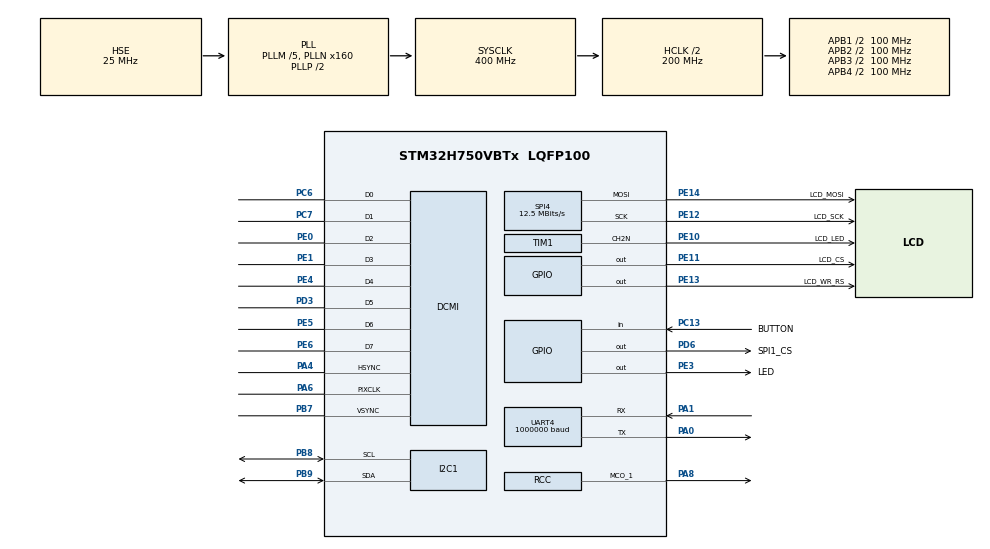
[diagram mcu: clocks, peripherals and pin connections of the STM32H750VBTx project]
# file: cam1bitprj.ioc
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CORTEX_M7.CPU_ICache=Enabled
DCMI.PCKPolarity=DCMI_PCKPOLARITY_RISING
Dma.DCMI.0.Direction=DMA_PERIPH_TO_MEMORY
Dma.DCMI.0.EventEnable=DISABLE
Dma.DCMI.0.FIFOMode=DMA_FIFOMODE_DISABLE
Dma.DCMI.0.Instance=DMA1_Stream0
Dma.DCMI.0.MemDataAlignment=DMA_MDATAALIGN_WORD
Dma.DCMI.0.MemInc=DMA_MINC_ENABLE
Dma.DCMI.0.Mode=DMA_CIRCULAR
Dma.DCMI.0.PeriphDataAlignment=DMA_PDATAALIGN_WORD
Dma.DCMI.0.PeriphInc=DMA_PINC_DISABLE
Dma.DCMI.0.Polarity=HAL_DMAMUX_REQ_GEN_RISING
Dma.DCMI.0.Priority=DMA_PRIORITY_MEDIUM
Dma.DCMI.0.RequestNumber=1
Dma.DCMI.0.SignalID=NONE
Dma.DCMI.0.SyncEnable=DISABLE
Dma.DCMI.0.SyncPolarity=HAL_DMAMUX_SYNC_NO_EVENT
Dma.DCMI.0.SyncRequestNumber=1
Dma.DCMI.0.SyncSignalID=NONE
Dma.Request0=DCMI
Dma.Request1=UART4_TX
Dma.UART4_TX.1.Direction=DMA_MEMORY_TO_PERIPH
Dma.UART4_TX.1.EventEnable=DISABLE
Dma.UART4_TX.1.FIFOMode=DMA_FIFOMODE_ENABLE
Dma.UART4_TX.1.FIFOThreshold=DMA_FIFO_THRESHOLD_FULL
Dma.UART4_TX.1.Instance=DMA1_Stream1
Dma.UART4_TX.1.MemBurst=DMA_MBURST_INC16
Dma.UART4_TX.1.MemDataAlignment=DMA_MDATAALIGN_BYTE
Dma.UART4_TX.1.MemInc=DMA_MINC_ENABLE
Dma.UART4_TX.1.Mode=DMA_NORMAL
Dma.UART4_TX.1.PeriphBurst=DMA_PBURST_SINGLE
Dma.UART4_TX.1.PeriphDataAlignment=DMA_PDATAALIGN_BYTE
Dma.UART4_TX.1.PeriphInc=DMA_PINC_DISABLE
Dma.UART4_TX.1.Polarity=HAL_DMAMUX_REQ_GEN_RISING
Dma.UART4_TX.1.Priority=DMA_PRIORITY_LOW
Dma.UART4_TX.1.RequestNumber=1
Dma.UART4_TX.1.SignalID=NONE
Dma.UART4_TX.1.SyncEnable=DISABLE
Dma.UART4_TX.1.SyncPolarity=HAL_DMAMUX_SYNC_NO_EVENT
Dma.UART4_TX.1.SyncRequestNumber=1
Dma.UART4_TX.1.SyncSignalID=NONE
I2C1.Timing=0x10C0ECFF
Mcu.Family=STM32H7
Mcu.Name=STM32H750VBTx
Mcu.Package=LQFP100
NVIC.DCMI_IRQn=true\:0\:0\:false\:false\:true\:true\:true\:true
NVIC.DMA1_Stream0_IRQn=true\:0\:0\:false\:false\:true\:false\:true\:true
NVIC.DMA1_Stream1_IRQn=true\:0\:0\:false\:false\:true\:false\:true\:true
NVIC.PriorityGroup=NVIC_PRIORITYGROUP_4
NVIC.UART4_IRQn=true\:0\:0\:false\:false\:true\:true\:true\:true
PA0.Mode=Asynchronous
PA0.Signal=UART4_TX
PA1.Mode=Asynchronous
PA1.Signal=UART4_RX
PA11.Signal=USB_OTG_FS_DM
PA12.Signal=USB_OTG_FS_DP
PA13\ (JTMS/SWDIO).Mode=Serial_Wire
PA13\ (JTMS/SWDIO).Signal=DEBUG_JTMS-SWDIO
PA14\ (JTCK/SWCLK).Mode=Serial_Wire
PA14\ (JTCK/SWCLK).Signal=DEBUG_JTCK-SWCLK
PA4.Mode=Slave_8_bits_External_Synchro
PA4.Signal=DCMI_HSYNC
PA6.Mode=Slave_8_bits_External_Synchro
PA6.Signal=DCMI_PIXCLK
PA8.Mode=Clock-out-1
PA8.Signal=RCC_MCO_1
PB2.Signal=QUADSPI_CLK
PB3\ (JTDO/TRACESWO).Signal=SPI1_SCK
PB4\ (NJTRST).Signal=SPI1_MISO
PB6.Signal=QUADSPI_BK1_NCS
PB7.Mode=Slave_8_bits_External_Synchro
PB7.Signal=DCMI_VSYNC
PB8.Mode=I2C
PB8.Signal=I2C1_SCL
PB9.Mode=I2C
PB9.Signal=I2C1_SDA
PC10.Signal=SDMMC1_D2
PC11.Signal=SDMMC1_D3
PC12.Signal=SDMMC1_CK
PC13.GPIO_Label=BUTTON
PC13.Signal=GPIO_Input
PC14-OSC32_IN\ (OSC32_IN).Mode=LSE-External-Oscillator
PC14-OSC32_IN\ (OSC32_IN).Signal=RCC_OSC32_IN
PC15-OSC32_OUT\ (OSC32_OUT).Mode=LSE-External-Oscillator
PC15-OSC32_OUT\ (OSC32_OUT).Signal=RCC_OSC32_OUT
PC6.Mode=Slave_8_bits_External_Synchro
PC6.Signal=DCMI_D0
PC7.Mode=Slave_8_bits_External_Synchro
PC7.Signal=DCMI_D1
PC8.Signal=SDMMC1_D0
PC9.Signal=SDMMC1_D1
PD11.Signal=QUADSPI_BK1_IO0
PD12.Signal=QUADSPI_BK1_IO1
PD13.Signal=QUADSPI_BK1_IO3
PD2.Signal=SDMMC1_CMD
PD3.Mode=Slave_8_bits_External_Synchro
PD3.Signal=DCMI_D5
PD6.GPIO_Label=SPI1_CS
PD6.Signal=GPIO_Output
PD7.Signal=SPI1_MOSI
PE0.Mode=Slave_8_bits_External_Synchro
PE0.Signal=DCMI_D2
PE1.Mode=Slave_8_bits_External_Synchro
PE1.Signal=DCMI_D3
PE10.GPIO_Label=LCD_LED
PE10.Mode=PWM Generation2 CH2N
PE10.Signal=TIM1_CH2N
PE11.GPIO_Label=LCD_CS
PE11.Signal=GPIO_Output
PE12.GPIO_Label=LCD_SCK
PE12.Mode=TX_Only_Simplex_Unidirect_Master
PE12.Signal=SPI4_SCK
PE13.GPIO_Label=LCD_WR_RS
PE13.Signal=GPIO_Output
PE14.GPIO_Label=LCD_MOSI
PE14.Mode=TX_Only_Simplex_Unidirect_Master
PE14.Signal=SPI4_MOSI
PE2.Signal=QUADSPI_BK1_IO2
PE3.GPIO_Label=LED
PE3.Signal=GPIO_Output
PE4.Mode=Slave_8_bits_External_Synchro
PE4.Signal=DCMI_D4
PE5.Mode=Slave_8_bits_External_Synchro
PE5.Signal=DCMI_D6
PE6.Mode=Slave_8_bits_External_Synchro
PE6.Signal=DCMI_D7
PH0-OSC_IN\ (PH0).Mode=HSE-External-Oscillator
PH0-OSC_IN\ (PH0).Signal=RCC_OSC_IN
PH1-OSC_OUT\ (PH1).Mode=HSE-External-Oscillator
PH1-OSC_OUT\ (PH1).Signal=RCC_OSC_OUT
ProjectManager.HeapSize=0x200
ProjectManager.StackSize=0x400
ProjectManager.TargetToolchain=STM32CubeIDE
RCC.ADCFreq_Value=50390625
RCC.APB1Freq_Value=100000000
RCC.APB2Freq_Value=100000000
RCC.APB3Freq_Value=100000000
RCC.APB4Freq_Value=100000000
RCC.CortexFreq_Value=400000000
RCC.D1PPRE=RCC_APB3_DIV2
RCC.D2PPRE1=RCC_APB1_DIV2
RCC.D2PPRE2=RCC_APB2_DIV2
RCC.D3PPRE=RCC_APB4_DIV2
RCC.DIVM1=5
RCC.DIVN1=160
RCC.DIVQ1=4
RCC.DIVR1=12
RCC.HCLKFreq_Value=200000000
RCC.HPRE=RCC_HCLK_DIV2
RCC.HSE_Timout=200
RCC.PLL2FRACN=0
RCC.PLL3FRACN=0
RCC.PLLFRACN=0
RCC.PLLSourceVirtual=RCC_PLLSOURCE_HSE
RCC.ProductRev=revV
RCC.RCC_MCO1Source=RCC_MCO1SOURCE_HSI48
RCC.RCC_MCODiv1=RCC_MCODIV_4
RCC.SYSCLKFreq_VALUE=400000000
RCC.SYSCLKSource=RCC_SYSCLKSOURCE_PLLCLK
RCC.SupplySource=PWR_EXTERNAL_SOURCE_SUPPLY
RCC.USBFreq_Value=200000000
SPI4.BaudRatePrescaler=SPI_BAUDRATEPRESCALER_8
SPI4.CalculateBaudRate=12.5 MBits/s
SPI4.DataSize=SPI_DATASIZE_8BIT
SPI4.Direction=SPI_DIRECTION_2LINES_TXONLY
SPI4.Mode=SPI_MODE_MASTER
SPI4.VirtualType=VM_MASTER
TIM1.Channel-PWM\ Generation2\ CH2N=TIM_CHANNEL_2
TIM1.OCNIdleState_2=TIM_OCNIDLESTATE_RESET
TIM1.Prescaler=10
TIM1.Pulse-PWM\ Generation2\ CH2N=32000
UART4.BaudRate=1000000
UART4.Parity=PARITY_EVEN
UART4.WordLength=WORDLENGTH_9B
VP_TIM1_VS_ClockSourceINT.Mode=Internal
board=custom

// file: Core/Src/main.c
/* USER CODE BEGIN Header */
/**
  ******************************************************************************
  * @file           : main.c
  * @brief          : Main program body
  ******************************************************************************
  * @attention
  *
  * Copyright (c) 2024 STMicroelectronics.
  * All rights reserved.
  *
  * This software is licensed under terms that can be found in the LICENSE file
  * in the root directory of this software component.
  * If no LICENSE file comes with this software, it is provided AS-IS.
  *
  ******************************************************************************
  */
//VECT_TAB_SRAM USER_VECT_TAB_ADDRESS
/* USER CODE END Header */
#include "main.h"

/* USER CODE BEGIN Includes */
#include "camera.h"
#include "st7735.h"
/* USER CODE END Includes */

DCMI_HandleTypeDef hdcmi;
DMA_HandleTypeDef hdma_dcmi;

I2C_HandleTypeDef hi2c1;

SPI_HandleTypeDef hspi4;

TIM_HandleTypeDef htim1;

UART_HandleTypeDef huart4;
DMA_HandleTypeDef hdma_uart4_tx;

/* USER CODE BEGIN PV */
extern void LCD_Test(void);
/* USER CODE END PV */

void SystemClock_Config(void);
static void MX_GPIO_Init(void);
static void MX_DMA_Init(void);
static void MX_UART4_Init(void);
static void MX_SPI4_Init(void);
static void MX_DCMI_Init(void);
static void MX_TIM1_Init(void);
static void MX_I2C1_Init(void);

/* USER CODE BEGIN 0 */
// QQVGA
#define FrameWidth 160
#define FrameHeight 120
// picture buffer
uint16_t pic[FrameWidth][FrameHeight];
uint32_t DCMI_FrameIsReady=0;
uint32_t Camera_FPS=0;

uint32_t uart_done=1;

void HAL_UART_TxCpltCallback(UART_HandleTypeDef *huart){
	 uart_done=1;
}
void HAL_DCMI_FrameEventCallback(DCMI_HandleTypeDef *hdcmi)
{
	static uint32_t count = 0,tick = 0;

	if(HAL_GetTick() - tick >= 1000)
	{
		tick = HAL_GetTick();
		Camera_FPS = count;
		count = 0;
	}
	count ++;

  DCMI_FrameIsReady = 1;
}

extern ST7735_Ctx_t ST7735Ctx;
extern ST7735_Object_t st7735_pObj;

/* USER CODE END 0 */

int main(void)
{

  /* Enable I-Cache---------------------------------------------------------*/
  SCB_EnableICache();

  /* MCU Configuration--------------------------------------------------------*/

  /* Reset of all peripherals, Initializes the Flash interface and the Systick. */
  HAL_Init();

  /* Configure the system clock */
  SystemClock_Config();

  /* USER CODE BEGIN SysInit */
  /* pwm need timer enable(cen) channel enable(ccer) break enable(moe)*/

  /* USER CODE END SysInit */

  /* Initialize all configured peripherals */
  MX_GPIO_Init();
  MX_DMA_Init();
  MX_UART4_Init();
  MX_SPI4_Init();
  MX_DCMI_Init();
  MX_TIM1_Init();
  MX_I2C1_Init();
  /* USER CODE BEGIN 2 */
  HAL_TIMEx_PWMN_Start(&htim1, TIM_CHANNEL_2);

  /* USER CODE END 2 */

  /* Infinite loop */
  /* USER CODE BEGIN WHILE */
  uint8_t text[20];
  LCD_Test();

	Camera_Init_Device(&hi2c1, FRAMESIZE_QQVGA);
	HAL_DCMI_Start_DMA(&hdcmi, DCMI_MODE_CONTINUOUS, (uint32_t) &pic, FrameWidth * FrameHeight * 2 / 4);
	while (1) {
    /* USER CODE END WHILE */

    /* USER CODE BEGIN 3 */
		if (DCMI_FrameIsReady) {
			DCMI_FrameIsReady = 0;
			ST7735_FillRGBRect(&st7735_pObj, 0, 0, (uint8_t*) &pic[20][0], ST7735Ctx.Width, 80);
			HAL_GPIO_TogglePin(LED_GPIO_Port, LED_Pin);
			if(uart_done){
				uart_done = 0;
				HAL_UART_Transmit(&huart4, "Start ", 6, 100);
				HAL_UART_Transmit_DMA(&huart4, &pic, FrameWidth * FrameHeight * 2 / 4);
			}

			sprintf((char*) &text, "%dFPS", Camera_FPS);
			LCD_ShowString(5, 5, 60, 16, 12, text);
			//HAL_Delay(100);
		}

	}
  /* USER CODE END 3 */
}

void SystemClock_Config(void)
{
  RCC_OscInitTypeDef RCC_OscInitStruct = {0};
  RCC_ClkInitTypeDef RCC_ClkInitStruct = {0};

  /** Supply configuration update enable
  */
  HAL_PWREx_ConfigSupply(PWR_EXTERNAL_SOURCE_SUPPLY);

  /** Configure the main internal regulator output voltage
  */
  __HAL_PWR_VOLTAGESCALING_CONFIG(PWR_REGULATOR_VOLTAGE_SCALE1);

  while(!__HAL_PWR_GET_FLAG(PWR_FLAG_VOSRDY)) {}

  /** Initializes the RCC Oscillators according to the specified parameters
  * in the RCC_OscInitTypeDef structure.
  */
  RCC_OscInitStruct.OscillatorType = RCC_OSCILLATORTYPE_HSI48|RCC_OSCILLATORTYPE_HSE;
  RCC_OscInitStruct.HSEState = RCC_HSE_ON;
  RCC_OscInitStruct.HSI48State = RCC_HSI48_ON;
  RCC_OscInitStruct.PLL.PLLState = RCC_PLL_ON;
  RCC_OscInitStruct.PLL.PLLSource = RCC_PLLSOURCE_HSE;
  RCC_OscInitStruct.PLL.PLLM = 5;
  RCC_OscInitStruct.PLL.PLLN = 160;
  RCC_OscInitStruct.PLL.PLLP = 2;
  RCC_OscInitStruct.PLL.PLLQ = 4;
  RCC_OscInitStruct.PLL.PLLR = 12;
  RCC_OscInitStruct.PLL.PLLRGE = RCC_PLL1VCIRANGE_2;
  RCC_OscInitStruct.PLL.PLLVCOSEL = RCC_PLL1VCOWIDE;
  RCC_OscInitStruct.PLL.PLLFRACN = 0;
  if (HAL_RCC_OscConfig(&RCC_OscInitStruct) != HAL_OK)
  {
    Error_Handler();
  }

  /** Initializes the CPU, AHB and APB buses clocks
  */
  RCC_ClkInitStruct.ClockType = RCC_CLOCKTYPE_HCLK|RCC_CLOCKTYPE_SYSCLK
                              |RCC_CLOCKTYPE_PCLK1|RCC_CLOCKTYPE_PCLK2
                              |RCC_CLOCKTYPE_D3PCLK1|RCC_CLOCKTYPE_D1PCLK1;
  RCC_ClkInitStruct.SYSCLKSource = RCC_SYSCLKSOURCE_PLLCLK;
  RCC_ClkInitStruct.SYSCLKDivider = RCC_SYSCLK_DIV1;
  RCC_ClkInitStruct.AHBCLKDivider = RCC_HCLK_DIV2;
  RCC_ClkInitStruct.APB3CLKDivider = RCC_APB3_DIV2;
  RCC_ClkInitStruct.APB1CLKDivider = RCC_APB1_DIV2;
  RCC_ClkInitStruct.APB2CLKDivider = RCC_APB2_DIV2;
  RCC_ClkInitStruct.APB4CLKDivider = RCC_APB4_DIV2;

  if (HAL_RCC_ClockConfig(&RCC_ClkInitStruct, FLASH_LATENCY_2) != HAL_OK)
  {
    Error_Handler();
  }
  HAL_RCC_MCOConfig(RCC_MCO1, RCC_MCO1SOURCE_HSI48, RCC_MCODIV_4);
}

static void MX_DCMI_Init(void)
{

  hdcmi.Instance = DCMI;
  hdcmi.Init.SynchroMode = DCMI_SYNCHRO_HARDWARE;
  hdcmi.Init.PCKPolarity = DCMI_PCKPOLARITY_RISING;
  hdcmi.Init.VSPolarity = DCMI_VSPOLARITY_LOW;
  hdcmi.Init.HSPolarity = DCMI_HSPOLARITY_LOW;
  hdcmi.Init.CaptureRate = DCMI_CR_ALL_FRAME;
  hdcmi.Init.ExtendedDataMode = DCMI_EXTEND_DATA_8B;
  hdcmi.Init.JPEGMode = DCMI_JPEG_DISABLE;
  hdcmi.Init.ByteSelectMode = DCMI_BSM_ALL;
  hdcmi.Init.ByteSelectStart = DCMI_OEBS_ODD;
  hdcmi.Init.LineSelectMode = DCMI_LSM_ALL;
  hdcmi.Init.LineSelectStart = DCMI_OELS_ODD;
  if (HAL_DCMI_Init(&hdcmi) != HAL_OK)
  {
    Error_Handler();
  }

}

static void MX_I2C1_Init(void)
{

  hi2c1.Instance = I2C1;
  hi2c1.Init.Timing = 0x10C0ECFF;
  hi2c1.Init.OwnAddress1 = 0;
  hi2c1.Init.AddressingMode = I2C_ADDRESSINGMODE_7BIT;
  hi2c1.Init.DualAddressMode = I2C_DUALADDRESS_DISABLE;
  hi2c1.Init.OwnAddress2 = 0;
  hi2c1.Init.OwnAddress2Masks = I2C_OA2_NOMASK;
  hi2c1.Init.GeneralCallMode = I2C_GENERALCALL_DISABLE;
  hi2c1.Init.NoStretchMode = I2C_NOSTRETCH_DISABLE;
  if (HAL_I2C_Init(&hi2c1) != HAL_OK)
  {
    Error_Handler();
  }

  /** Configure Analogue filter
  */
  if (HAL_I2CEx_ConfigAnalogFilter(&hi2c1, I2C_ANALOGFILTER_ENABLE) != HAL_OK)
  {
    Error_Handler();
  }

  /** Configure Digital filter
  */
  if (HAL_I2CEx_ConfigDigitalFilter(&hi2c1, 0) != HAL_OK)
  {
    Error_Handler();
  }

}

static void MX_SPI4_Init(void)
{

  /* SPI4 parameter configuration*/
  hspi4.Instance = SPI4;
  hspi4.Init.Mode = SPI_MODE_MASTER;
  hspi4.Init.Direction = SPI_DIRECTION_2LINES_TXONLY;
  hspi4.Init.DataSize = SPI_DATASIZE_8BIT;
  hspi4.Init.CLKPolarity = SPI_POLARITY_LOW;
  hspi4.Init.CLKPhase = SPI_PHASE_1EDGE;
  hspi4.Init.NSS = SPI_NSS_SOFT;
  hspi4.Init.BaudRatePrescaler = SPI_BAUDRATEPRESCALER_8;
  hspi4.Init.FirstBit = SPI_FIRSTBIT_MSB;
  hspi4.Init.TIMode = SPI_TIMODE_DISABLE;
  hspi4.Init.CRCCalculation = SPI_CRCCALCULATION_DISABLE;
  hspi4.Init.CRCPolynomial = 0x0;
  hspi4.Init.NSSPMode = SPI_NSS_PULSE_ENABLE;
  hspi4.Init.NSSPolarity = SPI_NSS_POLARITY_LOW;
  hspi4.Init.FifoThreshold = SPI_FIFO_THRESHOLD_01DATA;
  hspi4.Init.TxCRCInitializationPattern = SPI_CRC_INITIALIZATION_ALL_ZERO_PATTERN;
  hspi4.Init.RxCRCInitializationPattern = SPI_CRC_INITIALIZATION_ALL_ZERO_PATTERN;
  hspi4.Init.MasterSSIdleness = SPI_MASTER_SS_IDLENESS_00CYCLE;
  hspi4.Init.MasterInterDataIdleness = SPI_MASTER_INTERDATA_IDLENESS_00CYCLE;
  hspi4.Init.MasterReceiverAutoSusp = SPI_MASTER_RX_AUTOSUSP_DISABLE;
  hspi4.Init.MasterKeepIOState = SPI_MASTER_KEEP_IO_STATE_DISABLE;
  hspi4.Init.IOSwap = SPI_IO_SWAP_DISABLE;
  if (HAL_SPI_Init(&hspi4) != HAL_OK)
  {
    Error_Handler();
  }

}

static void MX_TIM1_Init(void)
{

  TIM_ClockConfigTypeDef sClockSourceConfig = {0};
  TIM_MasterConfigTypeDef sMasterConfig = {0};
  TIM_OC_InitTypeDef sConfigOC = {0};
  TIM_BreakDeadTimeConfigTypeDef sBreakDeadTimeConfig = {0};

  htim1.Instance = TIM1;
  htim1.Init.Prescaler = 10;
  htim1.Init.CounterMode = TIM_COUNTERMODE_UP;
  htim1.Init.Period = 65535;
  htim1.Init.ClockDivision = TIM_CLOCKDIVISION_DIV1;
  htim1.Init.RepetitionCounter = 0;
  htim1.Init.AutoReloadPreload = TIM_AUTORELOAD_PRELOAD_DISABLE;
  if (HAL_TIM_Base_Init(&htim1) != HAL_OK)
  {
    Error_Handler();
  }
  sClockSourceConfig.ClockSource = TIM_CLOCKSOURCE_INTERNAL;
  if (HAL_TIM_ConfigClockSource(&htim1, &sClockSourceConfig) != HAL_OK)
  {
    Error_Handler();
  }
  if (HAL_TIM_PWM_Init(&htim1) != HAL_OK)
  {
    Error_Handler();
  }
  sMasterConfig.MasterOutputTrigger = TIM_TRGO_RESET;
  sMasterConfig.MasterOutputTrigger2 = TIM_TRGO2_RESET;
  sMasterConfig.MasterSlaveMode = TIM_MASTERSLAVEMODE_DISABLE;
  if (HAL_TIMEx_MasterConfigSynchronization(&htim1, &sMasterConfig) != HAL_OK)
  {
    Error_Handler();
  }
  sConfigOC.OCMode = TIM_OCMODE_PWM1;
  sConfigOC.Pulse = 32000;
  sConfigOC.OCPolarity = TIM_OCPOLARITY_HIGH;
  sConfigOC.OCNPolarity = TIM_OCNPOLARITY_HIGH;
  sConfigOC.OCFastMode = TIM_OCFAST_DISABLE;
  sConfigOC.OCIdleState = TIM_OCIDLESTATE_RESET;
  sConfigOC.OCNIdleState = TIM_OCNIDLESTATE_RESET;
  if (HAL_TIM_PWM_ConfigChannel(&htim1, &sConfigOC, TIM_CHANNEL_2) != HAL_OK)
  {
    Error_Handler();
  }
  sBreakDeadTimeConfig.OffStateRunMode = TIM_OSSR_DISABLE;
  sBreakDeadTimeConfig.OffStateIDLEMode = TIM_OSSI_DISABLE;
  sBreakDeadTimeConfig.LockLevel = TIM_LOCKLEVEL_OFF;
  sBreakDeadTimeConfig.DeadTime = 0;
  sBreakDeadTimeConfig.BreakState = TIM_BREAK_DISABLE;
  sBreakDeadTimeConfig.BreakPolarity = TIM_BREAKPOLARITY_HIGH;
  sBreakDeadTimeConfig.BreakFilter = 0;
  sBreakDeadTimeConfig.Break2State = TIM_BREAK2_DISABLE;
  sBreakDeadTimeConfig.Break2Polarity = TIM_BREAK2POLARITY_HIGH;
  sBreakDeadTimeConfig.Break2Filter = 0;
  sBreakDeadTimeConfig.AutomaticOutput = TIM_AUTOMATICOUTPUT_DISABLE;
  if (HAL_TIMEx_ConfigBreakDeadTime(&htim1, &sBreakDeadTimeConfig) != HAL_OK)
  {
    Error_Handler();
  }
  HAL_TIM_MspPostInit(&htim1);

}

static void MX_UART4_Init(void)
{

  huart4.Instance = UART4;
  huart4.Init.BaudRate = 1000000;
  huart4.Init.WordLength = UART_WORDLENGTH_9B;
  huart4.Init.StopBits = UART_STOPBITS_1;
  huart4.Init.Parity = UART_PARITY_EVEN;
  huart4.Init.Mode = UART_MODE_TX_RX;
  huart4.Init.HwFlowCtl = UART_HWCONTROL_NONE;
  huart4.Init.OverSampling = UART_OVERSAMPLING_16;
  huart4.Init.OneBitSampling = UART_ONE_BIT_SAMPLE_DISABLE;
  huart4.Init.ClockPrescaler = UART_PRESCALER_DIV1;
  huart4.AdvancedInit.AdvFeatureInit = UART_ADVFEATURE_NO_INIT;
  if (HAL_UART_Init(&huart4) != HAL_OK)
  {
    Error_Handler();
  }
  if (HAL_UARTEx_SetTxFifoThreshold(&huart4, UART_TXFIFO_THRESHOLD_1_8) != HAL_OK)
  {
    Error_Handler();
  }
  if (HAL_UARTEx_SetRxFifoThreshold(&huart4, UART_RXFIFO_THRESHOLD_1_8) != HAL_OK)
  {
    Error_Handler();
  }
  if (HAL_UARTEx_DisableFifoMode(&huart4) != HAL_OK)
  {
    Error_Handler();
  }

}

static void MX_DMA_Init(void)
{

  /* DMA controller clock enable */
  __HAL_RCC_DMA1_CLK_ENABLE();

  /* DMA interrupt init */
  /* DMA1_Stream0_IRQn interrupt configuration */
  HAL_NVIC_SetPriority(DMA1_Stream0_IRQn, 0, 0);
  HAL_NVIC_EnableIRQ(DMA1_Stream0_IRQn);
  /* DMA1_Stream1_IRQn interrupt configuration */
  HAL_NVIC_SetPriority(DMA1_Stream1_IRQn, 0, 0);
  HAL_NVIC_EnableIRQ(DMA1_Stream1_IRQn);

}

static void MX_GPIO_Init(void)
{
  GPIO_InitTypeDef GPIO_InitStruct = {0};

  /* GPIO Ports Clock Enable */
  __HAL_RCC_GPIOE_CLK_ENABLE();
  __HAL_RCC_GPIOC_CLK_ENABLE();
  __HAL_RCC_GPIOH_CLK_ENABLE();
  __HAL_RCC_GPIOA_CLK_ENABLE();
  __HAL_RCC_GPIOB_CLK_ENABLE();
  __HAL_RCC_GPIOD_CLK_ENABLE();

  /*Configure GPIO pin Output Level */
  HAL_GPIO_WritePin(GPIOE, LED_Pin|LCD_CS_Pin|LCD_WR_RS_Pin, GPIO_PIN_RESET);

  /*Configure GPIO pin Output Level */
  HAL_GPIO_WritePin(SPI1_CS_GPIO_Port, SPI1_CS_Pin, GPIO_PIN_RESET);

  /*Configure GPIO pin : PE2 */
  GPIO_InitStruct.Pin = GPIO_PIN_2;
  GPIO_InitStruct.Mode = GPIO_MODE_AF_PP;
  GPIO_InitStruct.Pull = GPIO_NOPULL;
  GPIO_InitStruct.Speed = GPIO_SPEED_FREQ_LOW;
  GPIO_InitStruct.Alternate = GPIO_AF9_QUADSPI;
  HAL_GPIO_Init(GPIOE, &GPIO_InitStruct);

  /*Configure GPIO pins : LED_Pin LCD_CS_Pin LCD_WR_RS_Pin */
  GPIO_InitStruct.Pin = LED_Pin|LCD_CS_Pin|LCD_WR_RS_Pin;
  GPIO_InitStruct.Mode = GPIO_MODE_OUTPUT_PP;
  GPIO_InitStruct.Pull = GPIO_NOPULL;
  GPIO_InitStruct.Speed = GPIO_SPEED_FREQ_LOW;
  HAL_GPIO_Init(GPIOE, &GPIO_InitStruct);

  /*Configure GPIO pin : BUTTON_Pin */
  GPIO_InitStruct.Pin = BUTTON_Pin;
  GPIO_InitStruct.Mode = GPIO_MODE_INPUT;
  GPIO_InitStruct.Pull = GPIO_NOPULL;
  HAL_GPIO_Init(BUTTON_GPIO_Port, &GPIO_InitStruct);

  /*Configure GPIO pin : PB2 */
  GPIO_InitStruct.Pin = GPIO_PIN_2;
  GPIO_InitStruct.Mode = GPIO_MODE_AF_PP;
  GPIO_InitStruct.Pull = GPIO_NOPULL;
  GPIO_InitStruct.Speed = GPIO_SPEED_FREQ_LOW;
  GPIO_InitStruct.Alternate = GPIO_AF9_QUADSPI;
  HAL_GPIO_Init(GPIOB, &GPIO_InitStruct);

  /*Configure GPIO pins : PD11 PD12 PD13 */
  GPIO_InitStruct.Pin = GPIO_PIN_11|GPIO_PIN_12|GPIO_PIN_13;
  GPIO_InitStruct.Mode = GPIO_MODE_AF_PP;
  GPIO_InitStruct.Pull = GPIO_NOPULL;
  GPIO_InitStruct.Speed = GPIO_SPEED_FREQ_LOW;
  GPIO_InitStruct.Alternate = GPIO_AF9_QUADSPI;
  HAL_GPIO_Init(GPIOD, &GPIO_InitStruct);

  /*Configure GPIO pins : PC8 PC9 PC10 PC11
                           PC12 */
  GPIO_InitStruct.Pin = GPIO_PIN_8|GPIO_PIN_9|GPIO_PIN_10|GPIO_PIN_11
                          |GPIO_PIN_12;
  GPIO_InitStruct.Mode = GPIO_MODE_AF_PP;
  GPIO_InitStruct.Pull = GPIO_NOPULL;
  GPIO_InitStruct.Speed = GPIO_SPEED_FREQ_VERY_HIGH;
  GPIO_InitStruct.Alternate = GPIO_AF12_SDIO1;
  HAL_GPIO_Init(GPIOC, &GPIO_InitStruct);

  /*Configure GPIO pin : PA8 */
  GPIO_InitStruct.Pin = GPIO_PIN_8;
  GPIO_InitStruct.Mode = GPIO_MODE_AF_PP;
  GPIO_InitStruct.Pull = GPIO_NOPULL;
  GPIO_InitStruct.Speed = GPIO_SPEED_FREQ_LOW;
  GPIO_InitStruct.Alternate = GPIO_AF0_MCO;
  HAL_GPIO_Init(GPIOA, &GPIO_InitStruct);

  /*Configure GPIO pins : PA11 PA12 */
  GPIO_InitStruct.Pin = GPIO_PIN_11|GPIO_PIN_12;
  GPIO_InitStruct.Mode = GPIO_MODE_AF_PP;
  GPIO_InitStruct.Pull = GPIO_NOPULL;
  GPIO_InitStruct.Speed = GPIO_SPEED_FREQ_LOW;
  GPIO_InitStruct.Alternate = GPIO_AF10_OTG1_FS;
  HAL_GPIO_Init(GPIOA, &GPIO_InitStruct);

  /*Configure GPIO pin : PD2 */
  GPIO_InitStruct.Pin = GPIO_PIN_2;
  GPIO_InitStruct.Mode = GPIO_MODE_AF_PP;
  GPIO_InitStruct.Pull = GPIO_NOPULL;
  GPIO_InitStruct.Speed = GPIO_SPEED_FREQ_VERY_HIGH;
  GPIO_InitStruct.Alternate = GPIO_AF12_SDIO1;
  HAL_GPIO_Init(GPIOD, &GPIO_InitStruct);

  /*Configure GPIO pin : SPI1_CS_Pin */
  GPIO_InitStruct.Pin = SPI1_CS_Pin;
  GPIO_InitStruct.Mode = GPIO_MODE_OUTPUT_PP;
  GPIO_InitStruct.Pull = GPIO_NOPULL;
  GPIO_InitStruct.Speed = GPIO_SPEED_FREQ_LOW;
  HAL_GPIO_Init(SPI1_CS_GPIO_Port, &GPIO_InitStruct);

  /*Configure GPIO pin : PD7 */
  GPIO_InitStruct.Pin = GPIO_PIN_7;
  GPIO_InitStruct.Mode = GPIO_MODE_AF_PP;
  GPIO_InitStruct.Pull = GPIO_NOPULL;
  GPIO_InitStruct.Speed = GPIO_SPEED_FREQ_LOW;
  GPIO_InitStruct.Alternate = GPIO_AF5_SPI1;
  HAL_GPIO_Init(GPIOD, &GPIO_InitStruct);

  /*Configure GPIO pins : PB3 PB4 */
  GPIO_InitStruct.Pin = GPIO_PIN_3|GPIO_PIN_4;
  GPIO_InitStruct.Mode = GPIO_MODE_AF_PP;
  GPIO_InitStruct.Pull = GPIO_NOPULL;
  GPIO_InitStruct.Speed = GPIO_SPEED_FREQ_LOW;
  GPIO_InitStruct.Alternate = GPIO_AF5_SPI1;
  HAL_GPIO_Init(GPIOB, &GPIO_InitStruct);

  /*Configure GPIO pin : PB6 */
  GPIO_InitStruct.Pin = GPIO_PIN_6;
  GPIO_InitStruct.Mode = GPIO_MODE_AF_PP;
  GPIO_InitStruct.Pull = GPIO_NOPULL;
  GPIO_InitStruct.Speed = GPIO_SPEED_FREQ_LOW;
  GPIO_InitStruct.Alternate = GPIO_AF10_QUADSPI;
  HAL_GPIO_Init(GPIOB, &GPIO_InitStruct);

}

void Error_Handler(void)
{
  __disable_irq();
  while (1)
  {
  }
}
